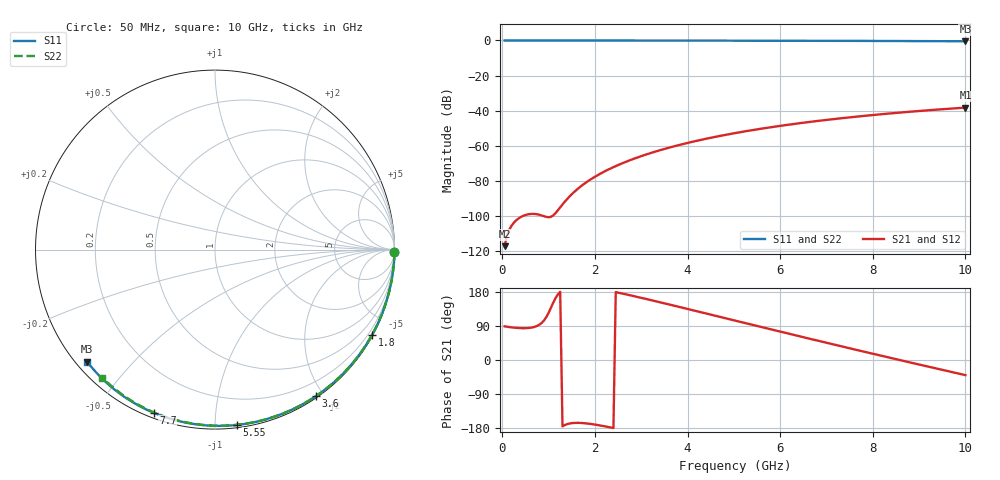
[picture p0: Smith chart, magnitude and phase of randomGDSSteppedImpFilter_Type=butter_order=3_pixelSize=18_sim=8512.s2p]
! freq	dB(S11)	phase(S11)	dB(S12)	phase(S12)
!  dB(S21)	phase(S21)	dB(S22)	phase(S22)
!S-par simulation data
#  GHz  S  DB  R 50
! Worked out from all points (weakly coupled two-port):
!   200 points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, 50 MHz to 10 GHz, reference 50 ohm
!   highest |S21| = -38.25 dB at 10 GHz (marker M1); lowest = -117.2 dB at 50 MHz (marker M2)
!   lowest |S11| = -0.5 dB at 10 GHz (marker M3), VSWR 37.03, Z = 1.54 - j18.8 ohm
!   |S11| at or under -10 dB: nowhere
!   |S22| runs from -0.4 to 0.0 dB; largest |S21 - S12| = 0
!   S11 on the Smith chart (normalised r, x): 50 MHz: open; 1.8 GHz: 0.03, -3.95; 3.6 GHz: 0.02, -1.90; 5.55 GHz: 0.02, -1.13; 7.7 GHz: 0.02, -0.69; 10 GHz: 0.03, -0.38
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0.05  -0.00 -0.8  -117.16 88.9  -117.16 88.9  -0.00 -0.8
0.45  -0.01 -7.2  -99.91 83.9  -99.91 83.9  -0.01 -6.8
0.9  -0.02 -14.4  -100.10 104.3  -100.10 104.3  -0.02 -13.6
1.75  -0.04 -27.7  -82.00 -166.5  -82.00 -166.5  -0.03 -26.2
1.8  -0.04 -28.4  -81.05 -167.1  -81.05 -167.1  -0.03 -26.9
1.85  -0.04 -29.2  -80.14 -167.8  -80.14 -167.8  -0.04 -27.6
2.15  -0.04 -33.8  -75.40 -173.6  -75.40 -173.6  -0.04 -32.0
2.35  -0.05 -36.9  -72.75 -178.3  -72.75 -178.3  -0.04 -34.9
2.55  -0.05 -39.9  -70.40 176.5  -70.40 176.5  -0.05 -37.8
2.95  -0.06 -45.9  -66.34 165.5  -66.34 165.5  -0.06 -43.5
3.4  -0.07 -52.6  -62.55 152.5  -62.55 152.5  -0.07 -49.8
3.6  -0.07 -55.5  -61.05 146.6  -61.05 146.6  -0.07 -52.6
3.9  -0.08 -59.9  -59.00 137.7  -59.00 137.7  -0.08 -56.7
4.3  -0.09 -65.6  -56.55 125.8  -56.55 125.8  -0.09 -62.2
5.05  -0.12 -76.1  -52.65 103.3  -52.65 103.3  -0.11 -72.1
5.55  -0.14 -82.9  -50.43 88.4  -50.43 88.4  -0.13 -78.6
6.1  -0.16 -90.2  -48.27 72.0  -48.27 72.0  -0.15 -85.5
6.7  -0.19 -98.0  -46.20 54.3  -46.20 54.3  -0.18 -93.0
7.7  -0.25 -110.7  -43.25 25.1  -43.25 25.1  -0.24 -104.9
8.35  -0.30 -118.7  -41.62 6.5  -41.62 6.5  -0.29 -112.5
9.2  -0.38 -129.1  -39.76 -17.6  -39.76 -17.6  -0.36 -122.3
10  -0.47 -138.8  -38.25 -39.9  -38.25 -39.9  -0.44 -131.3
